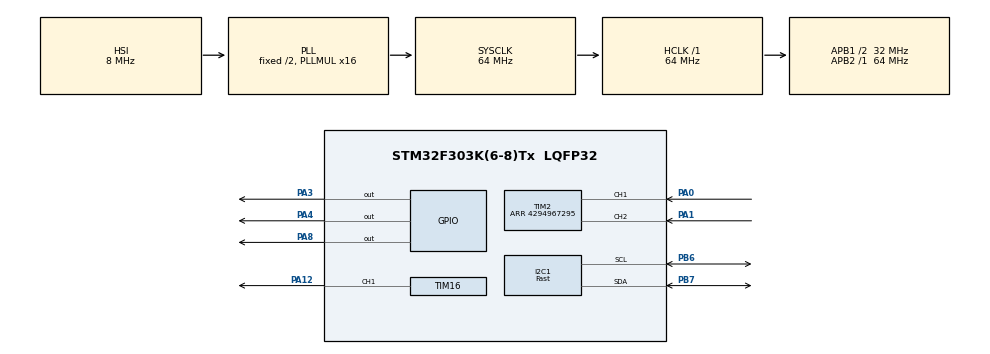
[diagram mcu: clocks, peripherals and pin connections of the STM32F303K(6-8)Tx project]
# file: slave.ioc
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I2C1.I2C_Rise_Time=300
I2C1.I2C_Speed_Mode=I2C_Fast
I2C1.Speed=400
I2C1.Timing=0x10C0102F
Mcu.Family=STM32F3
Mcu.Name=STM32F303K(6-8)Tx
Mcu.Package=LQFP32
NVIC.I2C1_ER_IRQn=true\:0\:0\:false\:false\:true
NVIC.I2C1_EV_IRQn=true\:0\:0\:false\:false\:true
NVIC.PriorityGroup=NVIC_PRIORITYGROUP_4
NVIC.TIM3_IRQn=true\:0\:0\:false\:false\:true
PA0.GPIO_Speed=GPIO_SPEED_FREQ_HIGH
PA0.Signal=S_TIM2_CH1_ETR
PA1.GPIO_Speed=GPIO_SPEED_FREQ_HIGH
PA1.Signal=S_TIM2_CH2
PA12.GPIO_PuPd=GPIO_PULLDOWN
PA12.GPIO_Speed=GPIO_SPEED_FREQ_HIGH
PA12.Signal=S_TIM16_CH1
PA13.GPIO_Label=SWDIO
PA13.Signal=SYS_JTMS-SWDIO
PA14.GPIO_Label=SWCLK
PA14.Signal=SYS_JTCK-SWCLK
PA15.GPIO_FM8=SYSCFG_CFGR1_I2C_PB8_FMP
PA15.GPIO_Label=VCP_RX
PA15.Signal=USART2_RX
PA2.GPIO_FM8=SYSCFG_CFGR1_I2C_PB8_FMP
PA2.GPIO_Label=VCP_TX
PA2.Signal=USART2_TX
PA3.GPIO_Speed=GPIO_SPEED_FREQ_HIGH
PA3.Signal=GPIO_Output
PA4.GPIO_Speed=GPIO_SPEED_FREQ_HIGH
PA4.Signal=GPIO_Output
PA8.GPIO_Speed=GPIO_SPEED_FREQ_HIGH
PA8.Signal=GPIO_Output
PB6.GPIO_FM6=SYSCFG_CFGR1_I2C_PB6_FMP
PB6.GPIO_PuPdOD=GPIO_NOPULL
PB6.Mode=I2C
PB6.Signal=I2C1_SCL
PB7.GPIO_FM7=SYSCFG_CFGR1_I2C_PB7_FMP
PB7.GPIO_PuPdOD=GPIO_NOPULL
PB7.Mode=I2C
PB7.Signal=I2C1_SDA
PF0\ /\ OSC_IN.GPIO_Label=MCO
PF0\ /\ OSC_IN.Signal=RCC_OSC_IN
ProjectManager.HeapSize=0x200
ProjectManager.StackSize=0x400
ProjectManager.TargetToolchain=MDK-ARM V5
RCC.AHBFreq_Value=64000000
RCC.APB1CLKDivider=RCC_HCLK_DIV2
RCC.APB1Freq_Value=32000000
RCC.APB1TimFreq_Value=64000000
RCC.APB2Freq_Value=64000000
RCC.APB2TimFreq_Value=64000000
RCC.CortexFreq_Value=64000000
RCC.HCLKFreq_Value=64000000
RCC.HSE_VALUE=8000000
RCC.HSI_VALUE=8000000
RCC.I2c1ClockSelection=RCC_I2C1CLKSOURCE_SYSCLK
RCC.PLLMUL=RCC_PLL_MUL16
RCC.SYSCLKFreq_VALUE=64000000
RCC.SYSCLKSourceVirtual=RCC_SYSCLKSOURCE_PLLCLK
RCC.TIM1Selection=RCC_TIM1CLK_PLLCLK
SH.S_TIM16_CH1.0=TIM16_CH1,PWM Generation1 CH1
SH.S_TIM2_CH1_ETR.0=TIM2_CH1,Encoder_Interface
SH.S_TIM2_CH2.0=TIM2_CH2,Encoder_Interface
TIM16.OCFastMode_PWM=TIM_OCFAST_ENABLE
TIM16.Period=2047
TIM2.EncoderMode=TIM_ENCODERMODE_TI12
TIM2.Period=4294967295
TIM3.Period=3
TIM3.Prescaler=16000
VP_TIM16_VS_ClockSourceINT.Mode=Enable_Timer
VP_TIM3_VS_ClockSourceINT.Mode=Internal
board=NUCLEO-F303K8

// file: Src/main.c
/**
  ******************************************************************************
  * File Name          : main.c
  * Description        : Main program body
  ******************************************************************************
  *
  * COPYRIGHT(c) 2016 STMicroelectronics
  *
  * Redistribution and use in source and binary forms, with or without modification,
  * are permitted provided that the following conditions are met:
  *   1. Redistributions of source code must retain the above copyright notice,
  *      this list of conditions and the following disclaimer.
  *   2. Redistributions in binary form must reproduce the above copyright notice,
  *      this list of conditions and the following disclaimer in the documentation
  *      and/or other materials provided with the distribution.
  *   3. Neither the name of STMicroelectronics nor the names of its contributors
  *      may be used to endorse or promote products derived from this software
  *      without specific prior written permission.
  *
  * THIS SOFTWARE IS PROVIDED BY THE COPYRIGHT HOLDERS AND CONTRIBUTORS "AS IS"
  * AND ANY EXPRESS OR IMPLIED WARRANTIES, INCLUDING, BUT NOT LIMITED TO, THE
  * IMPLIED WARRANTIES OF MERCHANTABILITY AND FITNESS FOR A PARTICULAR PURPOSE ARE
  * DISCLAIMED. IN NO EVENT SHALL THE COPYRIGHT HOLDER OR CONTRIBUTORS BE LIABLE
  * FOR ANY DIRECT, INDIRECT, INCIDENTAL, SPECIAL, EXEMPLARY, OR CONSEQUENTIAL
  * DAMAGES (INCLUDING, BUT NOT LIMITED TO, PROCUREMENT OF SUBSTITUTE GOODS OR
  * SERVICES; LOSS OF USE, DATA, OR PROFITS; OR BUSINESS INTERRUPTION) HOWEVER
  * CAUSED AND ON ANY THEORY OF LIABILITY, WHETHER IN CONTRACT, STRICT LIABILITY,
  * OR TORT (INCLUDING NEGLIGENCE OR OTHERWISE) ARISING IN ANY WAY OUT OF THE USE
  * OF THIS SOFTWARE, EVEN IF ADVISED OF THE POSSIBILITY OF SUCH DAMAGE.
  *
  ******************************************************************************
  */
#include "stm32f3xx_hal.h"

/* USER CODE BEGIN Includes */
#include <math.h>
#include <stdint.h>
#include <string.h>

#include "motor.h"
#include "I2CParser.h"

/* USER CODE END Includes */

I2C_HandleTypeDef hi2c1;

TIM_HandleTypeDef htim2;
TIM_HandleTypeDef htim3;
TIM_HandleTypeDef htim16;

/* USER CODE BEGIN PV */
/* Private variables ---------------------------------------------------------*/

//I2C Configurations
#define NoData         0 // the slave has not been addressed
#define ReadAddressed  1 // the master has requested a read from this slave (slave = transmitter)
//#define WriteGeneral 2 // the master is writing to all slave
#define WriteAddressed 3 // the master is writing to this slave (slave = receiver)
//This device is a SLAVE
#define I2C_ADDRESS      	0x40			//STM32 HAL library bitwise right shifts the address

//I2C RX/TX Buffer
const uint16_t RXBUFFERSIZE = 13;		//Receive buffer size
const uint16_t TXBUFFERSIZE = 12;		//Transmit buffer size
uint8_t txBuffer[TXBUFFERSIZE];
uint8_t rxBuffer[RXBUFFERSIZE];

//**********************************************
//Motor Control Configurations
//**********************************************

//Timer Configurations
	//Timer2 (64Mhz)  - Encoder Mode (4x)
	//Timer3 (64Mhz)  - Interrupt - 1kHz
	//Timer16 (64Mhz) - PWM

//Nucleo F303K8 Pin Configurations
	//A0 (PA0) - Encoder A
	//A1 (PA1) - Encoder B
	//A2 (PA3) - AIN1
	//A3 (PA4) - AIN2
	//D9 (PA8) - STBY
	//D2 (PA12) - PWM

	//D5 (PB6) - SCL
	//D4 (PB7) - SDA

//Motor: JGA25-271
//Encoder Resolution: 334 pulse/rotation
//Gear Ratio: 13.552
//Create Motor
Motor m;
const float encoderRes = 334.0f;	//Encoder Resolution 334 pulse/rotation
const float gearRatio = 13.552f;  //Gear Ratio 1:13.552

//Control Period = 1 / Frequency (RPM and PID Calculation, Motor PWM)
//DO NOT CHANGE THIS VALUE HERE
const float contPeriod = 1.0f/1000.0f;

//DEFAULT PID Constants
//Front Left Motor
//5.0 - 25.0 - 0.0

//Front Right Motor
//5.0 - 25.0 - 0.0

//Real Left Motor
//7.0 - 25.0 - 0.0

//Rear Right Motor
//7.0 - 25.0 - 0.0

//DEFAULT PID CONSTANTS
float Kp = 5.0f;
float Ki = 25.0f;
float Kd = 0.0f;

//PWM Resolution (DO NOT CHANGE THIS VALUE)
//	11Bit Resolution: 0-2047
uint16_t PWM_resolution = 2047;

/* USER CODE END PV */

void SystemClock_Config(void);
void Error_Handler(void);
static void MX_GPIO_Init(void);
static void MX_I2C1_Init(void);
static void MX_TIM2_Init(void);
static void MX_TIM16_Init(void);
static void MX_TIM3_Init(void);

void HAL_TIM_MspPostInit(TIM_HandleTypeDef *htim);

/* USER CODE BEGIN PFP */
/* Private function prototypes -----------------------------------------------*/
int i2c_slave_receive(void);
void calcRPM(void);
void calcPID(void);
void setMotorPWM(void);
void motorInit(void);

/* USER CODE END PFP */

int main(void)
{

  /* MCU Configuration----------------------------------------------------------*/

  /* Reset of all peripherals, Initializes the Flash interface and the Systick. */
  HAL_Init();

  /* Configure the system clock */
  SystemClock_Config();

  /* Initialize all configured peripherals */
  MX_GPIO_Init();
  MX_I2C1_Init();
  MX_TIM2_Init();
  MX_TIM16_Init();
  MX_TIM3_Init();

  /* USER CODE BEGIN 2 */

  //Initialize Motor
  //Enable Motor
  motorInit();

  //Encoder Init
  //Timer2 - 64Mhz
  //4X Encoding
  HAL_TIM_Encoder_Start(&htim2, TIM_CHANNEL_ALL);

  //Control Interrupt Init
  //Timer3 - 64Mhz
  //64Mhz/16000/3 = 1000kHz
  HAL_TIM_Base_Start_IT(&htim3);

  //PWM Init
  //Timer16 - 64Mhz
  //128Mhz/2048 = 31,250Hz
  //12bit Resolution 0-2047
  HAL_TIM_PWM_Start(&htim16, TIM_CHANNEL_1);

  //Enable STBY
  HAL_GPIO_WritePin(GPIOA, GPIO_PIN_8, GPIO_PIN_SET);
  //Set Kp Ki Kd values
  m.Kp = Kp;
  m.Ki = Ki;
  m.Kd = Kd;

  /* USER CODE END 2 */

  /* Infinite loop */
  /* USER CODE BEGIN WHILE */
  while (1)
  {

		int i = i2c_slave_receive();
		switch (i) {
			case ReadAddressed: {
				while(HAL_I2C_Slave_Transmit_IT(&hi2c1, (uint8_t*)txBuffer, TXBUFFERSIZE) != HAL_OK);
				while(HAL_I2C_GetState(&hi2c1) != HAL_I2C_STATE_READY);
			} break;

			case WriteAddressed:
				while(HAL_I2C_Slave_Receive_IT(&hi2c1, (uint8_t*)rxBuffer, RXBUFFERSIZE) != HAL_OK);
				while(HAL_I2C_GetState(&hi2c1) != HAL_I2C_STATE_READY);
				break;
		}

  /* USER CODE END WHILE */

  }

}

/** System Clock Configuration
*/
void SystemClock_Config(void)
{

  RCC_OscInitTypeDef RCC_OscInitStruct;
  RCC_ClkInitTypeDef RCC_ClkInitStruct;
  RCC_PeriphCLKInitTypeDef PeriphClkInit;

  RCC_OscInitStruct.OscillatorType = RCC_OSCILLATORTYPE_HSI;
  RCC_OscInitStruct.HSIState = RCC_HSI_ON;
  RCC_OscInitStruct.HSICalibrationValue = 16;
  RCC_OscInitStruct.PLL.PLLState = RCC_PLL_ON;
  RCC_OscInitStruct.PLL.PLLSource = RCC_PLLSOURCE_HSI;
  RCC_OscInitStruct.PLL.PLLMUL = RCC_PLL_MUL16;
  if (HAL_RCC_OscConfig(&RCC_OscInitStruct) != HAL_OK)
  {
    Error_Handler();
  }

  RCC_ClkInitStruct.ClockType = RCC_CLOCKTYPE_HCLK|RCC_CLOCKTYPE_SYSCLK
                              |RCC_CLOCKTYPE_PCLK1|RCC_CLOCKTYPE_PCLK2;
  RCC_ClkInitStruct.SYSCLKSource = RCC_SYSCLKSOURCE_PLLCLK;
  RCC_ClkInitStruct.AHBCLKDivider = RCC_SYSCLK_DIV1;
  RCC_ClkInitStruct.APB1CLKDivider = RCC_HCLK_DIV2;
  RCC_ClkInitStruct.APB2CLKDivider = RCC_HCLK_DIV1;
  if (HAL_RCC_ClockConfig(&RCC_ClkInitStruct, FLASH_LATENCY_2) != HAL_OK)
  {
    Error_Handler();
  }

  PeriphClkInit.PeriphClockSelection = RCC_PERIPHCLK_I2C1;
  PeriphClkInit.I2c1ClockSelection = RCC_I2C1CLKSOURCE_SYSCLK;
  if (HAL_RCCEx_PeriphCLKConfig(&PeriphClkInit) != HAL_OK)
  {
    Error_Handler();
  }

  HAL_SYSTICK_Config(HAL_RCC_GetHCLKFreq()/1000);

  HAL_SYSTICK_CLKSourceConfig(SYSTICK_CLKSOURCE_HCLK);

  /* SysTick_IRQn interrupt configuration */
  HAL_NVIC_SetPriority(SysTick_IRQn, 0, 0);
}

/* I2C1 init function */
static void MX_I2C1_Init(void)
{

  hi2c1.Instance = I2C1;
  hi2c1.Init.Timing = 0x10C0102F;
  hi2c1.Init.OwnAddress1 = I2C_ADDRESS;
  hi2c1.Init.AddressingMode = I2C_ADDRESSINGMODE_7BIT;
  hi2c1.Init.DualAddressMode = I2C_DUALADDRESS_DISABLE;
  hi2c1.Init.OwnAddress2 = 0xFF;
  hi2c1.Init.OwnAddress2Masks = I2C_OA2_NOMASK;
  hi2c1.Init.GeneralCallMode = I2C_GENERALCALL_DISABLE;
  hi2c1.Init.NoStretchMode = I2C_NOSTRETCH_DISABLE;
  if (HAL_I2C_Init(&hi2c1) != HAL_OK)
  {
    Error_Handler();
  }

    /**Configure Analogue filter
    */
  if (HAL_I2CEx_ConfigAnalogFilter(&hi2c1, I2C_ANALOGFILTER_ENABLE) != HAL_OK)
  {
    Error_Handler();
  }

}

/* TIM2 init function */
static void MX_TIM2_Init(void)
{

  TIM_Encoder_InitTypeDef sConfig;
  TIM_MasterConfigTypeDef sMasterConfig;

  htim2.Instance = TIM2;
  htim2.Init.Prescaler = 0;
  htim2.Init.CounterMode = TIM_COUNTERMODE_UP;
  htim2.Init.Period = 4294967295;
  htim2.Init.ClockDivision = TIM_CLOCKDIVISION_DIV1;
  sConfig.EncoderMode = TIM_ENCODERMODE_TI12;
  sConfig.IC1Polarity = TIM_ICPOLARITY_RISING;
  sConfig.IC1Selection = TIM_ICSELECTION_DIRECTTI;
  sConfig.IC1Prescaler = TIM_ICPSC_DIV1;
  sConfig.IC1Filter = 0;
  sConfig.IC2Polarity = TIM_ICPOLARITY_RISING;
  sConfig.IC2Selection = TIM_ICSELECTION_DIRECTTI;
  sConfig.IC2Prescaler = TIM_ICPSC_DIV1;
  sConfig.IC2Filter = 0;
  if (HAL_TIM_Encoder_Init(&htim2, &sConfig) != HAL_OK)
  {
    Error_Handler();
  }

  sMasterConfig.MasterOutputTrigger = TIM_TRGO_RESET;
  sMasterConfig.MasterSlaveMode = TIM_MASTERSLAVEMODE_DISABLE;
  if (HAL_TIMEx_MasterConfigSynchronization(&htim2, &sMasterConfig) != HAL_OK)
  {
    Error_Handler();
  }

}

/* TIM3 init function */
static void MX_TIM3_Init(void)
{

  TIM_ClockConfigTypeDef sClockSourceConfig;
  TIM_MasterConfigTypeDef sMasterConfig;

  htim3.Instance = TIM3;
  htim3.Init.Prescaler = 16000;
  htim3.Init.CounterMode = TIM_COUNTERMODE_UP;
  htim3.Init.Period = 3;
  htim3.Init.ClockDivision = TIM_CLOCKDIVISION_DIV1;
  if (HAL_TIM_Base_Init(&htim3) != HAL_OK)
  {
    Error_Handler();
  }

  sClockSourceConfig.ClockSource = TIM_CLOCKSOURCE_INTERNAL;
  if (HAL_TIM_ConfigClockSource(&htim3, &sClockSourceConfig) != HAL_OK)
  {
    Error_Handler();
  }

  sMasterConfig.MasterOutputTrigger = TIM_TRGO_RESET;
  sMasterConfig.MasterSlaveMode = TIM_MASTERSLAVEMODE_DISABLE;
  if (HAL_TIMEx_MasterConfigSynchronization(&htim3, &sMasterConfig) != HAL_OK)
  {
    Error_Handler();
  }

}

/* TIM16 init function */
static void MX_TIM16_Init(void)
{

  TIM_BreakDeadTimeConfigTypeDef sBreakDeadTimeConfig;
  TIM_OC_InitTypeDef sConfigOC;

  htim16.Instance = TIM16;
  htim16.Init.Prescaler = 0;
  htim16.Init.CounterMode = TIM_COUNTERMODE_UP;
  htim16.Init.Period = 2047;
  htim16.Init.ClockDivision = TIM_CLOCKDIVISION_DIV1;
  htim16.Init.RepetitionCounter = 0;
  if (HAL_TIM_Base_Init(&htim16) != HAL_OK)
  {
    Error_Handler();
  }

  if (HAL_TIM_PWM_Init(&htim16) != HAL_OK)
  {
    Error_Handler();
  }

  sBreakDeadTimeConfig.OffStateRunMode = TIM_OSSR_DISABLE;
  sBreakDeadTimeConfig.OffStateIDLEMode = TIM_OSSI_DISABLE;
  sBreakDeadTimeConfig.LockLevel = TIM_LOCKLEVEL_OFF;
  sBreakDeadTimeConfig.DeadTime = 0;
  sBreakDeadTimeConfig.BreakState = TIM_BREAK_DISABLE;
  sBreakDeadTimeConfig.BreakPolarity = TIM_BREAKPOLARITY_HIGH;
  sBreakDeadTimeConfig.BreakFilter = 0;
  sBreakDeadTimeConfig.AutomaticOutput = TIM_AUTOMATICOUTPUT_DISABLE;
  if (HAL_TIMEx_ConfigBreakDeadTime(&htim16, &sBreakDeadTimeConfig) != HAL_OK)
  {
    Error_Handler();
  }

  sConfigOC.OCMode = TIM_OCMODE_PWM1;
  sConfigOC.Pulse = 0;
  sConfigOC.OCPolarity = TIM_OCPOLARITY_HIGH;
  sConfigOC.OCNPolarity = TIM_OCNPOLARITY_HIGH;
  sConfigOC.OCFastMode = TIM_OCFAST_ENABLE;
  sConfigOC.OCIdleState = TIM_OCIDLESTATE_RESET;
  sConfigOC.OCNIdleState = TIM_OCNIDLESTATE_RESET;
  if (HAL_TIM_PWM_ConfigChannel(&htim16, &sConfigOC, TIM_CHANNEL_1) != HAL_OK)
  {
    Error_Handler();
  }

  HAL_TIM_MspPostInit(&htim16);

}

/** Configure pins as
        * Analog
        * Input
        * Output
        * EVENT_OUT
        * EXTI
     PA2   ------> USART2_TX
     PA15   ------> USART2_RX
*/
static void MX_GPIO_Init(void)
{

  GPIO_InitTypeDef GPIO_InitStruct;

  /* GPIO Ports Clock Enable */
  __HAL_RCC_GPIOF_CLK_ENABLE();
  __HAL_RCC_GPIOA_CLK_ENABLE();
  __HAL_RCC_GPIOB_CLK_ENABLE();

  /*Configure GPIO pins : VCP_TX_Pin VCP_RX_Pin */
  GPIO_InitStruct.Pin = VCP_TX_Pin|VCP_RX_Pin;
  GPIO_InitStruct.Mode = GPIO_MODE_AF_PP;
  GPIO_InitStruct.Pull = GPIO_NOPULL;
  GPIO_InitStruct.Speed = GPIO_SPEED_FREQ_HIGH;
  GPIO_InitStruct.Alternate = GPIO_AF7_USART2;
  HAL_GPIO_Init(GPIOA, &GPIO_InitStruct);

  /*Configure GPIO pins : PA3 PA4 PA8 */
  GPIO_InitStruct.Pin = GPIO_PIN_3|GPIO_PIN_4|GPIO_PIN_8;
  GPIO_InitStruct.Mode = GPIO_MODE_OUTPUT_PP;
  GPIO_InitStruct.Pull = GPIO_NOPULL;
  GPIO_InitStruct.Speed = GPIO_SPEED_FREQ_HIGH;
  HAL_GPIO_Init(GPIOA, &GPIO_InitStruct);

  /**/
  HAL_I2CEx_EnableFastModePlus(SYSCFG_CFGR1_I2C_PB8_FMP);

  /**/
  HAL_I2CEx_EnableFastModePlus(SYSCFG_CFGR1_I2C_PB8_FMP);

  /*Configure GPIO pin Output Level */
  HAL_GPIO_WritePin(GPIOA, GPIO_PIN_3|GPIO_PIN_4|GPIO_PIN_8, GPIO_PIN_RESET);

}

/* USER CODE BEGIN 4 */

//I2C Receive Callback function for I2C Message parsing
void HAL_I2C_SlaveRxCpltCallback(I2C_HandleTypeDef *I2cHandle){
  //I2C Message Parser
  cmdParser();
}

//I2C Erro Callback function
void HAL_I2C_ErrorCallback(I2C_HandleTypeDef *I2cHandle){
	//if I2C Transaction process is interrupt ARLO (arbitrary lost) is set
	//Restart I2C Bus
	/*
	if (__HAL_I2C_GET_FLAG(&hi2c1, I2C_FLAG_ARLO) == 1){
		__HAL_I2C_CLEAR_FLAG(&hi2c1, I2C_FLAG_ARLO);
		MX_I2C1_Init();
	}
	*/
}

/**
  * @brief  Timer 3 Interrupt at 1kHz. Calculate RPM, calculate PID and drive motor
  * @param  htim pointer
  * @retval None
  */
void HAL_TIM_PeriodElapsedCallback(TIM_HandleTypeDef *htim) {
	// This callback is automatically called by the HAL on the UEV event
	if(htim->Instance == TIM3){
		calcRPM();

		switch(m.mode){
			//Manuel Mode
			case 0:
				m.control = m.PWM;
				break;

			//Velocity PI Mode
			case 1:
				calcPID();
				break;
		}

		setMotorPWM();
	}
}

/**
  * @brief  Initialize Motor. Disable STANDBY mode, enable Velocity control mode and set default PID constants
  * @param  None
  * @retval None
  */
void motorInit(){
	//Enable STBY Pin
	HAL_GPIO_WritePin(GPIOA, GPIO_PIN_8, GPIO_PIN_SET);

	//Set Default Values
	m.Kp = Kp;
	m.Ki = Ki;
	m.Kd = Kd;

	//Set Default Mode as Velocity PID
	//Manuel Mode: 				0x00
	//Velocity PID Mode: 	0x01
	m.mode = 0x01;
}

/**
  * @brief  Calculates RPM. Count the encoder tick every 'contPeriod' (1kHz - 0.001sec)
	*							count_per_minute = (1min/0.001sec)*countDifference
	*							4xRPM = count_per_minute / encoderResolution
	*							RPM = 4xRPM/4 (4x Encoding)
  * @param  None
  * @retval None
  */
void calcRPM(){
	m.encPos = __HAL_TIM_GET_COUNTER(&htim2);		//Get Count
	m.dPos = m.encPos - m.encPrevPos; 					//Delta position (difference)
	m.encPrevPos = m.encPos;
	m.RPM = (((60.0f)/(contPeriod*encoderRes))*((float)m.dPos))/4.0f;
}

/**
  * @brief  Calculates PID. Calculate PID every 'contPeriod' (200Hz - 0.005sec)
  * @param  None
  * @retval None
  */
void calcPID(){
	m.errRPM = m.refRPM*gearRatio - m.RPM;
	m.integral = m.integral + m.errRPM*contPeriod;
	//Velocity Control -> PI Control
	//m.derivative = (m.errRPM - m.errPrevRPM)/contPeriod;
	m.control = m.Kp*m.errRPM + m.Ki*m.integral;//+ Kd*m.derivative;
	m.errPrevRPM = m.errRPM;
}

/**
  * @brief  Checks to see if this I2C Slave has been addressed.
  * @param  None
  * @retval NoData - the slave has not been addressed	(int)
	*					ReadAddressed - the master has requested a read from this slave
	*					WriteAddressed - the master is writing to this slave
	*					WriteGeneral - the master is writing to all slave
  */
int i2c_slave_receive()
{
    int retValue = NoData;

    if (__HAL_I2C_GET_FLAG(&hi2c1, I2C_FLAG_BUSY) == 1) {
        if (__HAL_I2C_GET_FLAG(&hi2c1, I2C_FLAG_ADDR) == 1) {
            if (__HAL_I2C_GET_FLAG(&hi2c1, I2C_FLAG_DIR) == 1)
                retValue = ReadAddressed;
            else
                retValue = WriteAddressed;
            __HAL_I2C_CLEAR_FLAG(&hi2c1, I2C_FLAG_ADDR);
        }
    }

    return (retValue);
}

/**
  * @brief  Sets Motor PWM. Saturate PWM and change direction (TB6612FNG)
	*								AIN1 | AIN2 | 	Output
	*									H	 |   H	| Short Brake
	*									L	 |	 H	|			CCW
	*									H	 |	 L	|			CW
	*									L	 |	 L	|			STOP
  * @param  None
  * @retval None
  */
void setMotorPWM(){
	m.PWM = m.control;
	//Saturation
	if(m.PWM < -PWM_resolution)
		m.PWM = -PWM_resolution;
	else if(m.PWM > PWM_resolution)
		m.PWM = PWM_resolution;

  if(m.PWM == 0){
		//Brake: HIGH - HIGH
		HAL_GPIO_WritePin(GPIOA, GPIO_PIN_3, GPIO_PIN_SET);			//A2 - AIN1
		HAL_GPIO_WritePin(GPIOA, GPIO_PIN_4, GPIO_PIN_SET);			//A3 - AIN2
  }
	if(m.PWM > 0){
		//CW Rotation: HIGH - LOW
		HAL_GPIO_WritePin(GPIOA, GPIO_PIN_3, GPIO_PIN_SET);			//A2 - AIN1
		HAL_GPIO_WritePin(GPIOA, GPIO_PIN_4, GPIO_PIN_RESET);		//A3 - AIN2
	} else {
    //CCW Rotation: LOW - HIGH
		HAL_GPIO_WritePin(GPIOA, GPIO_PIN_3, GPIO_PIN_RESET);		//A2 - AIN1
		HAL_GPIO_WritePin(GPIOA, GPIO_PIN_4, GPIO_PIN_SET);			//A3 - AIN2
	}
	__HAL_TIM_SET_COMPARE(&htim16, TIM_CHANNEL_1, fabsf(m.PWM));
}

/* USER CODE END 4 */

void Error_Handler(void)
{
  while(1)
  {
  }
}

/************************ (C) COPYRIGHT STMicroelectronics *****END OF FILE****/
